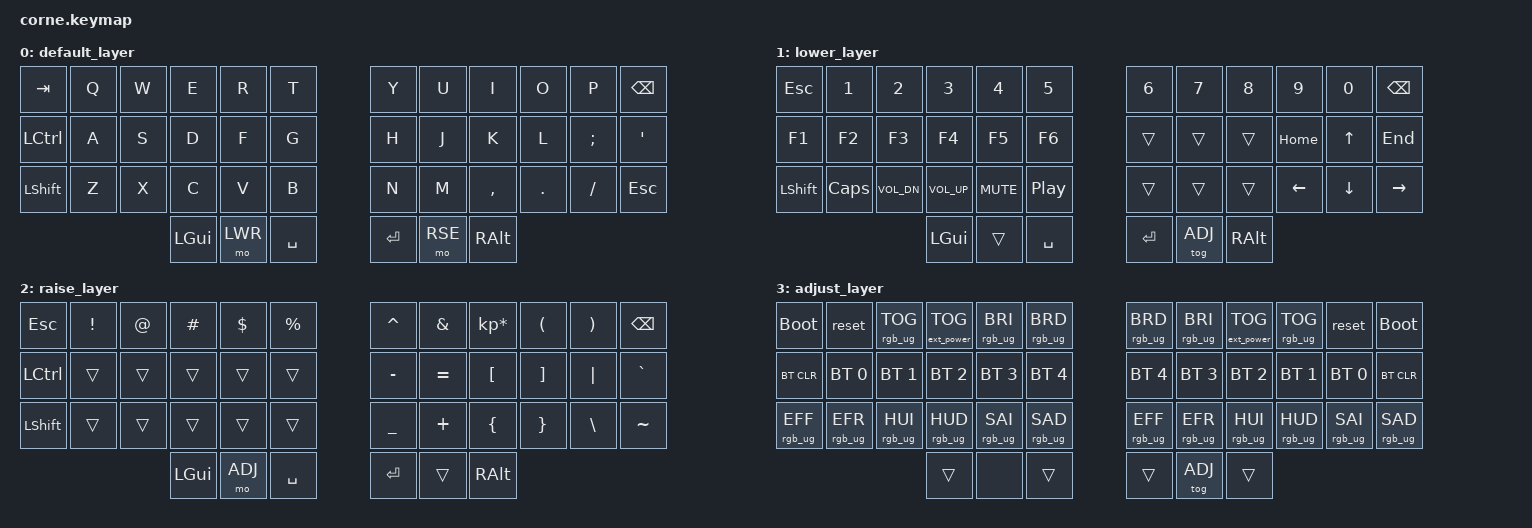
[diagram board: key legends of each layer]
/*
 * Copyright (c) 2020 The ZMK Contributors
 *
 * SPDX-License-Identifier: MIT
 */

#include <behaviors.dtsi>
#include <dt-bindings/zmk/keys.h>
#include <dt-bindings/zmk/bt.h>
#include <dt-bindings/zmk/rgb.h>
#include <dt-bindings/zmk/ext_power.h>

#define DEF 0
#define LWR 1
#define RSE 2
#define ADJ 3

&mt { quick_tap_ms=<200>; };

/ {
        keymap {
                compatible = "zmk,keymap";

                default_layer {
// -----------------------------------------------------------------------------------------
// |  TAB |  Q  |  W  |  E  |  R  |  T  |   |  Y  |  U   |  I  |  O  |  P  | BKSP |
// | CTRL |  A  |  S  |  D  |  F  |  G  |   |  H  |  J   |  K  |  L  |  ;  |  '   |
// | SHFT |  Z  |  X  |  C  |  V  |  B  |   |  N  |  M   |  ,  |  .  |  /  | ESC  |
//                    | GUI | LWR | SPC |   | ENT | RSE  | ALT |
                        bindings = <
   &kp TAB   &kp Q &kp W    &kp E &kp R &kp T       &kp Y   &kp U   &kp I     &kp O   &kp P    &kp BSPC
   &kp LCTRL &kp A &kp S    &kp D &kp F &kp G       &kp H   &kp J   &kp K     &kp L   &kp SEMI &kp SQT
   &kp LSHFT &kp Z &kp X    &kp C &kp V &kp B       &kp N   &kp M   &kp COMMA &kp DOT &kp FSLH &kp ESC
                   &kp LGUI &mo LWR     &kp SPACE   &kp RET &mo RSE &kp RALT
                        >;
                };
                lower_layer {
// -----------------------------------------------------------------------------------------
// |  ESC |  1  |  2  |  3  |  4  |  5  |   |  6  |  7  |  8  |  9  |  0  | BKSP |
// |  F1  |  F2 |  F3 |  F4 |  F5 | F6  |   |     |     |     | HOME|  UP | END  |
// | SHFT | CAPS| VOLD| VOLU| MUT | PP  |   |     |     |     | LFT | DWN | RGT  |
//                    | GUI |     | SPC |   | ENT |     | ALT |
                        bindings = <
   &kp ESC    &kp N1       &kp N2       &kp N3       &kp N4       &kp N5            &kp N6   &kp N7   &kp N8 &kp N9   &kp N0    &kp BSPC
   &kp F1     &kp F2       &kp F3       &kp F4       &kp F5       &kp F6            &trans   &trans   &trans &kp HOME &kp UP    &kp END
   &kp LSHFT  &kp CAPS     &kp C_VOL_DN &kp C_VOL_UP &kp C_MUTE   &kp C_PP          &trans   &trans   &trans &kp LEFT &kp DOWN  &kp RIGHT
                                        &kp LGUI     &trans       &kp SPACE         &kp RET  &tog ADJ  &kp RALT
                        >;
                };

                raise_layer {
// -----------------------------------------------------------------------------------------
// |  ESC |  !  |  @  |  #  |  $  |  %  |   |  ^  |  &  |  *  |  (  |  )  | BKSP |
// | CTRL |     |     |     |     |     |   |  -  |  =  |  {  |  }  | "|" |  `   |
// | SHFT |     |     |     |     |     |   |  _  |  +  |  [  |  ]  |  \  |  ~   | 
//                    | GUI |     | SPC |   | ENT |     | ALT |
                        bindings = <
   &kp  ESC  &kp EXCL  &kp AT  &kp HASH  &kp DLLR  &kp PRCNT   &kp CARET &kp AMPS  &kp KP_MULTIPLY &kp LPAR &kp RPAR &kp BSPC
   &kp LCTRL &trans    &trans  &trans    &trans    &trans      &kp MINUS &kp EQUAL &kp LBKT        &kp RBKT &kp PIPE &kp GRAVE
   &kp LSHFT &trans    &trans  &trans    &trans    &trans      &kp UNDER &kp PLUS  &kp LBRC        &kp RBRC &kp BSLH &kp TILDE
                               &kp LGUI  &mo ADJ   &kp SPACE   &kp RET   &trans    &kp RALT
                        >;
                };               
                adjust_layer {
// -----------------------------------------------------------------------------------------
// | BLDR | RST | RGBTOG| EPTOG| VAL+| VAL-|   | VAL-| VAL+| EPTOG| RGBTOG| RST | BLDR |
// | BTCLR| BT0 | BT1   | BT2  | BT3 | BT4 |   | BT4 | BT3 | BT2  | BT1   | BT0 | BTCLR|
// | MOD+ | MOD-| HUE+  | HUE- | SAT+| SAT-|   | MOD+| MOD-| HUE+ | HUE-  | SAT+| SAT-|
//                      |      |     |     |   |     |     |      |
                bindings = <
   &bootloader     &reset          &rgb_ug RGB_TOG &ext_power EP_TOG &rgb_ug RGB_BRI &rgb_ug RGB_BRD    &rgb_ug RGB_BRD &rgb_ug RGB_BRI &ext_power EP_TOG &rgb_ug RGB_TOG &reset          &bootloader
   &bt BT_CLR      &bt BT_SEL 0    &bt BT_SEL 1    &bt BT_SEL 2      &bt BT_SEL 3    &bt BT_SEL 4       &bt BT_SEL 4    &bt BT_SEL 3    &bt BT_SEL 2      &bt BT_SEL 1    &bt BT_SEL 0    &bt BT_CLR
   &rgb_ug RGB_EFF &rgb_ug RGB_EFR &rgb_ug RGB_HUI &rgb_ug RGB_HUD   &rgb_ug RGB_SAI &rgb_ug RGB_SAD    &rgb_ug RGB_EFF &rgb_ug RGB_EFR &rgb_ug RGB_HUI   &rgb_ug RGB_HUD &rgb_ug RGB_SAI &rgb_ug RGB_SAD
                                                   &trans            &none           &trans             &trans          &tog ADJ        &trans
                        >;
                };
        };
};                
